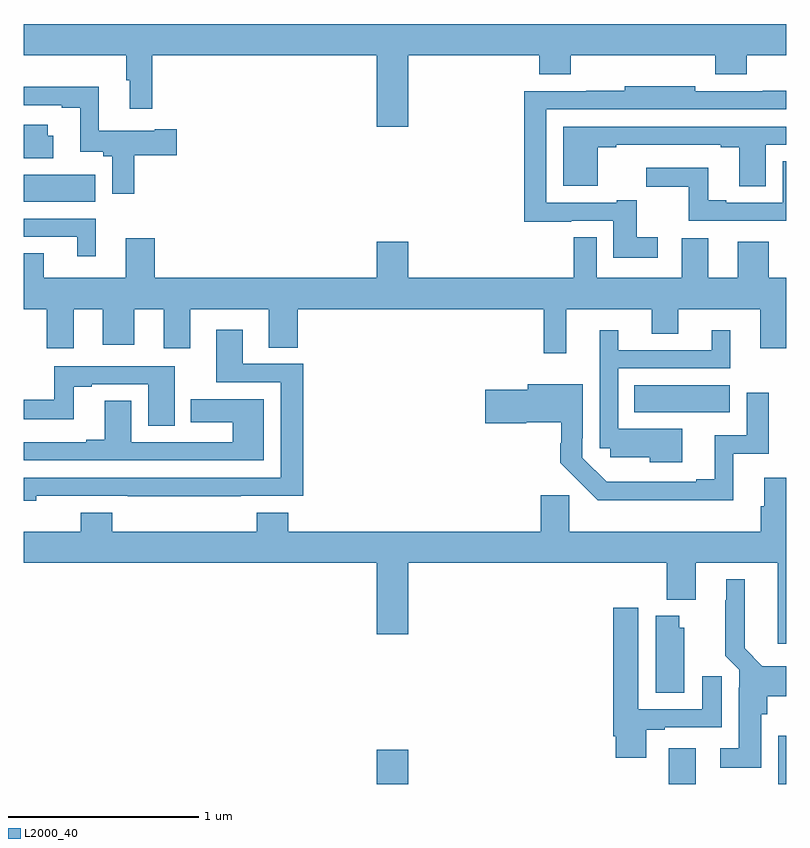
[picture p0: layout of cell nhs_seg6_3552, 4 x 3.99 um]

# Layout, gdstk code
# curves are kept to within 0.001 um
import gdstk
lib = gdstk.Library(unit=1e-6, precision=1e-09)
def R(c, l, rs):  # rectangles x0, y0, x1, y1
    for r in rs: c.add(gdstk.rectangle(r[:2], r[2:], *l))
def P(c, l, *ps):  # polygons
    for p in ps: c.add(gdstk.Polygon(p, *l))
L2000_40 = (2000, 40)

nhs_seg6_3552 = lib.new_cell('nhs_seg6_3552')
R(nhs_seg6_3552, L2000_40, [(320.852,955.5,321.016,955.681), (322.385,955.5,322.525,955.687), (322.959,955.5,323,955.753), (322.204,957.452,322.705,957.592), (319,958.556,319.375,958.696)])
P(nhs_seg6_3552, L2000_40, [(321.016,959.324),(321.704,959.324),(321.704,959.225),(321.869,959.225),(321.869,959.324),(322.628,959.324),(322.628,959.225),(322.793,959.225),(322.793,959.324),(323,959.324),(323,959.488),(319,959.488),(319,959.324),(319.537,959.324),(319.537,959.192),(319.556,959.192),(319.556,959.043),(319.673,959.043),(319.673,959.324),(320.852,959.324),(320.852,958.95),(321.016,958.95)],
  [(322.327,958.369),(322.216,958.369),(322.216,958.564),(322.112,958.564),(322.112,958.551),(321.741,958.551),(321.741,959.04),(323,959.04),(323,959.138),(322.876,959.138),(322.876,959.136),(322.524,959.136),(322.524,959.161),(322.152,959.161),(322.152,959.138),(321.952,959.138),(321.952,959.136),(321.625,959.136),(321.625,958.45),(321.873,958.45),(321.873,958.455),(322.094,958.455),(322.094,958.262),(322.327,958.262)],
  [(319.58,958.798),(319.801,958.798),(319.801,958.935),(319.688,958.935),(319.688,958.927),(319.393,958.927),(319.393,959.158),(319,959.158),(319,959.061),(319.199,959.061),(319.199,959.049),(319.295,959.049),(319.295,958.817),(319.416,958.817),(319.416,958.793),(319.464,958.793),(319.464,958.596),(319.58,958.596)],
  [(319.153,958.902),(319.126,958.902),(319.126,958.96),(319,958.96),(319,958.784),(319.153,958.784)],
  [(322.894,958.854),(323,958.854),(323,958.95),(321.83,958.95),(321.83,958.64),(322.012,958.64),(322.012,958.842),(322.108,958.842),(322.108,958.854),(322.658,958.854),(322.658,958.842),(322.754,958.842),(322.754,958.636),(322.894,958.636)],
  [(323,958.769),(322.982,958.769),(322.982,958.551),(322.687,958.551),(322.687,958.564),(322.591,958.564),(322.591,958.734),(322.266,958.734),(322.266,958.633),(322.489,958.633),(322.489,958.455),(323,958.455)],
  [(319.378,958.467),(319,958.467),(319,958.371),(319.28,958.371),(319.28,958.269),(319.378,958.269)],
  [(322.295,957.862),(322.435,957.862),(322.435,957.992),(322.865,957.992),(322.865,957.786),(323,957.786),(323,958.156),(322.909,958.156),(322.909,958.345),(322.745,958.345),(322.745,958.156),(322.591,958.156),(322.591,958.363),(322.451,958.363),(322.451,958.156),(322.006,958.156),(322.006,958.37),(321.885,958.37),(321.885,958.156),(321.016,958.156),(321.016,958.345),(320.852,958.345),(320.852,958.156),(319.688,958.156),(319.688,958.363),(319.535,958.363),(319.535,958.156),(319.105,958.156),(319.105,958.286),(319,958.286),(319,957.992),(319.121,957.992),(319.121,957.786),(319.261,957.786),(319.261,957.992),(319.415,957.992),(319.415,957.804),(319.579,957.804),(319.579,957.992),(319.733,957.992),(319.733,957.786),(319.873,957.786),(319.873,957.992),(320.285,957.992),(320.285,957.79),(320.438,957.79),(320.438,957.992),(321.727,957.992),(321.727,957.759),(321.845,957.759),(321.845,957.992),(322.295,957.992)],
  [(319.065,957.012),(319.546,957.012),(319.546,957.011),(320.138,957.011),(320.138,957.012),(320.465,957.012),(320.465,957.705),(320.149,957.705),(320.149,957.883),(320.009,957.883),(320.009,957.609),(320.349,957.609),(320.349,957.108),(319,957.108),(319,956.987),(319.065,956.987)],
  [(322.456,957.364),(322.119,957.364),(322.119,957.681),(322.708,957.681),(322.708,957.88),(322.61,957.88),(322.61,957.777),(322.12,957.777),(322.12,957.88),(322.023,957.88),(322.023,957.261),(322.077,957.261),(322.077,957.215),(322.284,957.215),(322.284,957.188),(322.456,957.188)],
  [(319.792,957.693),(319.159,957.693),(319.159,957.515),(319,957.515),(319,957.414),(319.261,957.414),(319.261,957.585),(319.357,957.585),(319.357,957.597),(319.652,957.597),(319.652,957.379),(319.792,957.379)],
  [(322.211,956.99),(322.723,956.99),(322.723,957.234),(322.91,957.234),(322.91,957.553),(322.794,957.553),(322.794,957.33),(322.625,957.33),(322.625,957.1),(322.529,957.1),(322.529,957.087),(322.058,957.086),(321.93,957.213),(321.93,957.313),(321.933,957.313),(321.933,957.598),(321.644,957.598),(321.644,957.57),(321.42,957.57),(321.42,957.392),(321.636,957.392),(321.636,957.397),(321.821,957.397),(321.821,957.287),(321.815,957.287),(321.815,957.185),(322.012,956.988),(322.211,956.988)],
  [(320.26,957.52),(319.877,957.52),(319.877,957.398),(320.096,957.398),(320.096,957.294),(319.564,957.294),(319.564,957.512),(319.424,957.512),(319.424,957.307),(319.328,957.307),(319.328,957.294),(319,957.294),(319,957.198),(320.26,957.198)],
  [(323,957.106),(322.886,957.106),(322.886,956.957),(322.867,956.957),(322.867,956.824),(321.863,956.824),(321.863,957.015),(321.713,957.015),(321.713,956.824),(320.387,956.824),(320.387,956.923),(320.222,956.923),(320.222,956.824),(319.463,956.824),(319.463,956.923),(319.298,956.923),(319.298,956.824),(319,956.824),(319,956.66),(320.852,956.66),(320.852,956.286),(321.016,956.286),(321.016,956.66),(322.373,956.66),(322.373,956.468),(322.525,956.468),(322.525,956.66),(322.955,956.66),(322.955,956.235),(323,956.235)],
  [(322.87,955.866),(322.901,955.866),(322.901,955.961),(323,955.961),(323,956.119),(322.875,956.119),(322.783,956.212),(322.783,956.575),(322.685,956.575),(322.685,956.465),(322.681,956.465),(322.681,956.174),(322.755,956.1),(322.755,956.006),(322.751,956.006),(322.751,955.687),(322.653,955.687),(322.653,955.586),(322.87,955.586)],
  [(322.267,955.785),(322.363,955.785),(322.363,955.797),(322.663,955.797),(322.663,956.065),(322.559,956.065),(322.559,955.893),(322.225,955.893),(322.225,956.425),(322.094,956.425),(322.094,955.75),(322.106,955.75),(322.106,955.638),(322.267,955.638)],
  [(322.465,956.319),(322.438,956.319),(322.438,956.383),(322.316,956.383),(322.316,955.978),(322.465,955.978)])

lib.write_gds('nhs_seg6_3552.gds')
